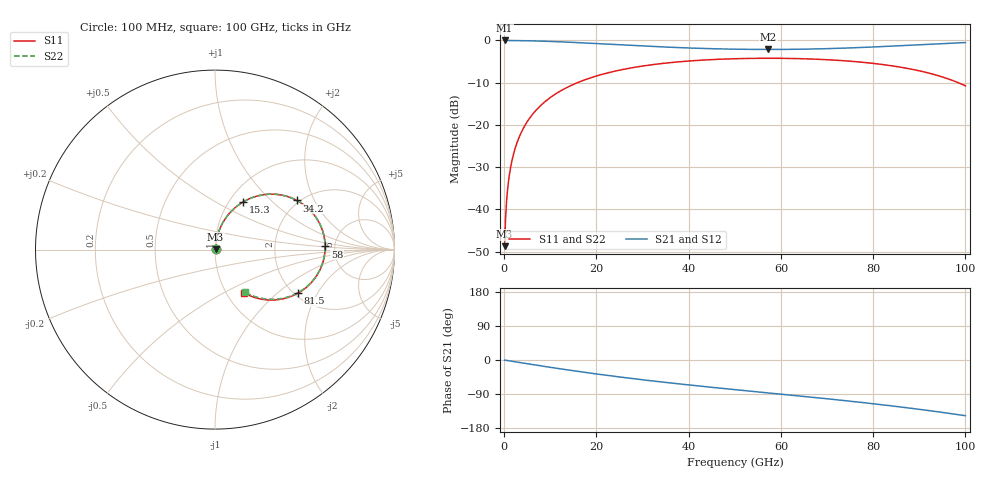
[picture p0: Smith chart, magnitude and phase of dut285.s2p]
! Touchstone file exported from HFSS 2026.1.0
!  File:  C:/ffzhzh/LocalFiles/Ansys_Project_Files/temp_train_RDL_285_1783502107_41296.aedt
!  Generated:  05:16:22 PM Jul  8, 2026
!  Design:  RDL
!  Project:  temp_train_RDL_285_1783502107_41296
! Variables:
!  h_bsmrdl = 2um
!  h_ox = 20um
!  h_rdl = 5um
!  h_sub = 80um
!  h_tmrdl = 2.82um
!  h_tsv = 80um
!  h_via = 3um
!  l_bsmrdl = 300um
!  l_sub = 883.78um
!  l_tmrdl = 483.78um
!  m_sub = 200um
!  pitch = 59.59um
!  r_tsv = 6um
!  s_tmrdl = 10um
!  w_bsmrdl = 18um
!  w_sub = 500um
!  w_tmrdl = 23.81um
!  x_tsv_center1 = 495.685um
!  x_tsv_center2 = 813.685um
!  x_tsv_center3 = 1321.275um
!  x_tsv_center4 = 1639.275um
!  x_tsv_center5 = 2146.865um
!  x_tsv_center6 = 2464.865um
# GHz S MA R 50.000000
! Terminal data exported
! Port[1] = TM_RDL1_1_T1
! Port[2] = TM_RDL1_1_T2
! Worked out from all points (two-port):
!   1000 points, 100 MHz to 100 GHz, reference 50 ohm
!   highest |S21| = -0.02 dB at 100 MHz (marker M1); lowest = -2.2 dB at 57.3 GHz (marker M2)
!   |S21| within 3 dB of the highest: start of sweep to end of sweep
!   lowest |S11| = -48.7 dB at 100 MHz (marker M3), VSWR 1.01, Z = 50.3 + j0.24 ohm
!   |S11| at or under -10 dB: start of sweep to 15.91 GHz; 98.43 GHz to end of sweep
!   |S22| runs from -48.7 to -4.2 dB; largest |S21 - S12| = 2.1e-14
!   S11 on the Smith chart (normalised r, x): 100 MHz: 1.01, +0.00; 15.3 GHz: 1.16, +0.67; 34.2 GHz: 1.94, +1.48; 58 GHz: 4.17, +0.24; 81.5 GHz: 2.09, -1.40; 100 GHz: 1.20, -0.63
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0.1  0.003681 40.5  0.9972 -0.2  0.9972 -0.2  0.003681 40.5
! Gamma 0 0 0 0
! Port Impedance 50 0 50 0
0.8  0.01838 77.5  0.9964 -1.6  0.9964 -1.6  0.01838 77.5
1.1  0.02485 79.5  0.9961 -2.2  0.9961 -2.2  0.02485 79.5
1.4  0.03136 80.5  0.9958 -2.8  0.9958 -2.8  0.03136 80.5
2.4  0.05311 81.1  0.9947 -4.7  0.9947 -4.7  0.05311 81.1
3.8  0.08341 79.6  0.9923 -7.5  0.9923 -7.5  0.08341 79.6
5.8  0.1259 76.4  0.9872 -11.4  0.9872 -11.4  0.1259 76.4
8.3  0.1771 72.0  0.9784 -16.1  0.9784 -16.1  0.1771 72.0
11.5  0.239 66.3  0.9641 -22.1  0.9641 -22.1  0.239 66.3
15.3  0.3061 59.7  0.944 -28.8  0.944 -28.8  0.3061 59.7
16.8  0.3306 57.1  0.9355 -31.4  0.9355 -31.4  0.3306 57.2
24.6  0.4393 44.7  0.8891 -44.1  0.8891 -44.1  0.4393 44.7
33.4  0.5261 32.0  0.8409 -57.0  0.8409 -57.0  0.5261 32.1
34.2  0.5323 30.9  0.8371 -58.1  0.8371 -58.1  0.5323 31.0
50.1  0.6067 11.0  0.7858 -78.3  0.7858 -78.3  0.6066 11.1
57.3  0.6141 2.5  0.7802 -86.9  0.7802 -86.9  0.6141 2.7
58  0.614 1.7  0.7802 -87.7  0.7802 -87.7  0.614 1.9
66.7  0.6013 -8.7  0.7898 -98.2  0.7898 -98.2  0.6012 -8.4
81.5  0.5224 -27.7  0.8418 -117.5  0.8418 -117.5  0.5223 -27.2
83.4  0.506 -30.3  0.8512 -120.2  0.8512 -120.2  0.506 -29.8
92.5  0.4044 -43.9  0.9013 -134.1  0.9013 -134.1  0.4044 -43.1
100  0.2901 -56.1  0.9416 -146.9  0.9416 -146.9  0.2902 -54.8
